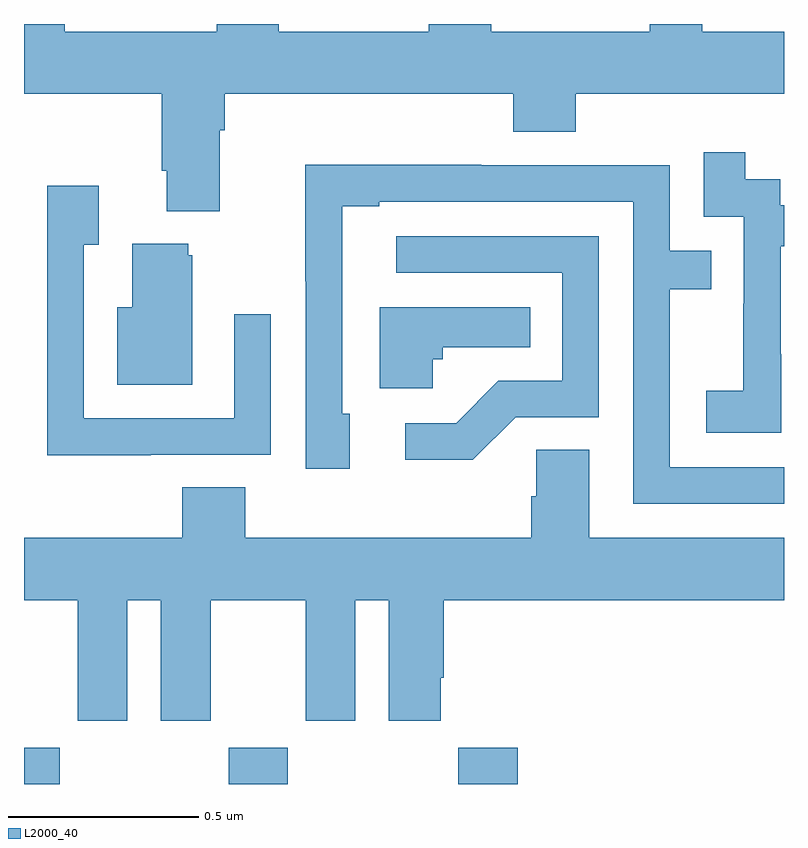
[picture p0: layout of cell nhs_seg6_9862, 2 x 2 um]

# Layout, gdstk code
import gdstk
lib = gdstk.Library(unit=1e-6, precision=1e-09)
def R(c, l, rs):  # rectangles x0, y0, x1, y1
    for r in rs: c.add(gdstk.rectangle(r[:2], r[2:], *l))
def P(c, l, *ps):  # polygons
    for p in ps: c.add(gdstk.Polygon(p, *l))
L2000_40 = (2000, 40)

nhs_seg6_9862 = lib.new_cell('nhs_seg6_9862')
R(nhs_seg6_9862, L2000_40, [(239,965.5,239.094,965.596), (239.539,965.5,239.694,965.596), (240.143,965.5,240.299,965.596)])
P(nhs_seg6_9862, L2000_40, [(239.515,967.22),(239.528,967.22),(239.528,967.316),(240.287,967.316),(240.287,967.217),(240.452,967.217),(240.452,967.316),(241,967.316),(241,967.48),(240.785,967.48),(240.785,967.5),(240.647,967.5),(240.647,967.48),(240.229,967.48),(240.229,967.5),(240.065,967.5),(240.065,967.48),(239.671,967.48),(239.671,967.5),(239.507,967.5),(239.507,967.48),(239.107,967.48),(239.107,967.5),(239,967.5),(239,967.316),(239.363,967.316),(239.363,967.114),(239.375,967.114),(239.375,967.007),(239.515,967.007)],
  [(240.993,966.631),(240.992,966.631),(240.992,966.915),(241,966.915),(241,967.023),(240.99,967.023),(240.99,967.092),(240.898,967.092),(240.898,967.162),(240.789,967.162),(240.789,966.993),(240.894,966.993),(240.894,966.764),(240.893,966.764),(240.893,966.535),(240.795,966.535),(240.795,966.425),(240.993,966.425)],
  [(241,966.333),(240.699,966.333),(240.699,966.802),(240.809,966.802),(240.809,966.903),(240.699,966.903),(240.699,967.128),(240.203,967.128),(240.203,967.13),(239.74,967.13),(239.74,966.823),(239.742,966.823),(239.742,966.33),(239.857,966.33),(239.857,966.474),(239.838,966.474),(239.838,967.02),(239.935,967.02),(239.935,967.032),(240.603,967.032),(240.603,966.237),(241,966.237)],
  [(239.333,966.366),(239.649,966.366),(239.649,966.736),(239.553,966.736),(239.553,966.462),(239.157,966.462),(239.157,966.919),(239.197,966.919),(239.197,967.075),(239.061,967.075),(239.061,966.365),(239.333,966.365)],
  [(240.294,966.465),(240.513,966.465),(240.513,966.942),(239.979,966.942),(239.979,966.846),(240.417,966.846),(240.417,966.561),(240.248,966.561),(240.137,966.45),(240.003,966.45),(240.003,966.353),(240.181,966.353)],
  [(239.443,966.891),(239.432,966.891),(239.432,966.922),(239.285,966.922),(239.285,966.754),(239.246,966.754),(239.246,966.551),(239.443,966.551)],
  [(240.075,966.618),(240.102,966.618),(240.102,966.65),(240.332,966.65),(240.332,966.754),(239.936,966.754),(239.936,966.542),(240.075,966.542)],
  [(239.272,965.984),(239.36,965.984),(239.36,965.667),(239.491,965.667),(239.491,965.984),(239.741,965.984),(239.741,965.667),(239.872,965.667),(239.872,965.984),(239.96,965.984),(239.96,965.667),(240.097,965.667),(240.097,965.779),(240.104,965.779),(240.104,965.984),(241,965.984),(241,966.148),(240.487,966.148),(240.487,966.38),(240.348,966.38),(240.348,966.257),(240.335,966.257),(240.335,966.148),(239.582,966.148),(239.582,966.281),(239.417,966.281),(239.417,966.148),(239,966.148),(239,965.984),(239.141,965.984),(239.141,965.667),(239.272,965.667)])

lib.write_gds('nhs_seg6_9862.gds')
